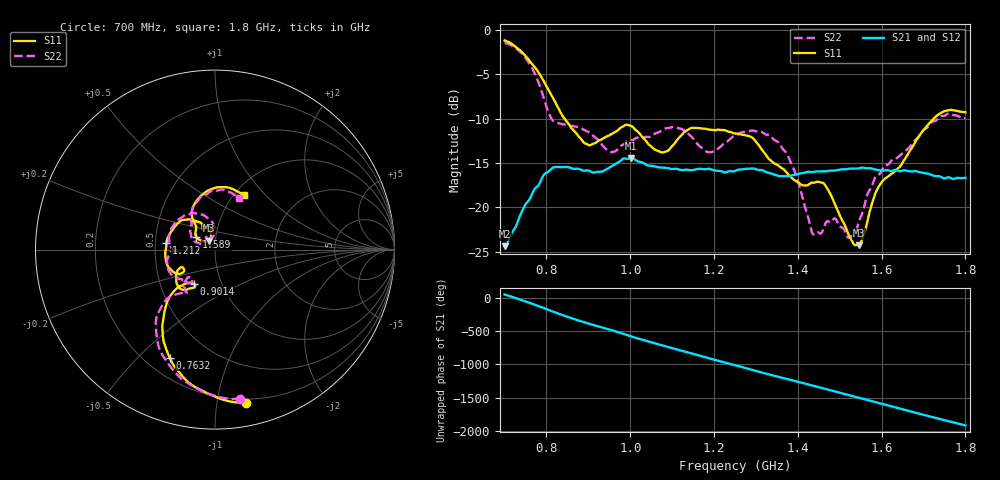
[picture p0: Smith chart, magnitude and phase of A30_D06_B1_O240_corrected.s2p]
! Created with skrf 1.9.0 (http://scikit-rf.org).
# Hz S RI R 50.0
!freq ReS11 ImS11 ReS21 ImS21 ReS12 ImS12 ReS22 ImS22
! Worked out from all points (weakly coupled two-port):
!   1601 points, 700 MHz to 1.8 GHz, reference 50 ohm
!   highest |S21| = -14.44 dB at 1.002 GHz (marker M1); lowest = -24.4 dB at 700 MHz (marker M2)
!   lowest |S11| = -24.3 dB at 1.546 GHz (marker M3), VSWR 1.13, Z = 46.3 + j4.61 ohm
!   |S11| at or under -10 dB: 842.8 MHz to 1.725 GHz (881.8 MHz wide, 68.7 % of centre)
!   |S22| runs from -23.5 to -1.5 dB; largest |S21 - S12| = 0.0035
!   S11 on the Smith chart (normalised r, x): 700 MHz: 0.17, -1.21; 763.2 MHz: 0.30, -0.62; 901.4 MHz: 0.74, -0.30; 1.212 GHz: 0.57, +0.04; 1.589 GHz: 0.80, +0.11; 1.8 GHz: 1.12, +0.76
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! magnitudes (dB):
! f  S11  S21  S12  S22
! 700 MHz  -1.2  -24.4  -24.2  -1.5
! 763.2 MHz  -3.7  -18.8  -18.8  -4.1
! 814.8 MHz  -7.6  -15.5  -15.6  -10.2
! 883.6 MHz  -12.4  -15.8  -15.7  -11.1
! 901.4 MHz  -13.0  -15.9  -15.9  -11.5
! 953.7 MHz  -11.8  -15.4  -15.4  -13.8
! 1.002 GHz  -10.8  -14.4  -14.5  -12.4
! 1.067 GHz  -13.7  -15.5  -15.4  -11.6
! 1.143 GHz  -11.1  -15.8  -15.8  -11.9
! 1.212 GHz  -11.3  -15.9  -15.9  -13.3
! 1.25 GHz  -11.7  -15.9  -15.8  -11.9
! 1.355 GHz  -15.4  -16.5  -16.4  -12.8
! 1.394 GHz  -17.0  -16.3  -16.3  -16.1
! 1.434 GHz  -17.2  -16.0  -16.0  -22.8
! 1.465 GHz  -17.5  -15.9  -15.9  -21.9
! 1.489 GHz  -19.7  -15.9  -15.8  -21.3
! 1.524 GHz  -23.3  -15.7  -15.6  -23.4
! 1.546 GHz  -24.3  -15.6  -15.6  -21.5
! 1.589 GHz  -18.0  -15.8  -15.8  -16.4
! 1.617 GHz  -16.5  -15.9  -15.8  -15.1
! 1.732 GHz  -9.7  -16.5  -16.5  -10.1
! 1.8 GHz  -9.3  -16.7  -16.7  -10.0
